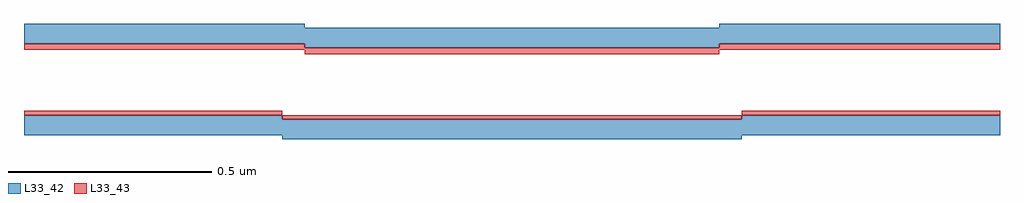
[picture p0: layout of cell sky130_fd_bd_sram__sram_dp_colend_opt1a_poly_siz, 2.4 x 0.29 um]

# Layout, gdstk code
from math import pi, radians
import gdstk
lib = gdstk.Library(unit=1e-6, precision=1e-09)
def R(c, l, rs):  # rectangles x0, y0, x1, y1
    for r in rs: c.add(gdstk.rectangle(r[:2], r[2:], *l))
def P(c, l, *ps):  # polygons
    for p in ps: c.add(gdstk.Polygon(p, *l))
L33_42 = (33, 42)
L33_43 = (33, 43)

sky130_fd_bd_sram__sram_ = lib.new_cell('sky130_fd_bd_sram__sram_dp_cell_half_poly_siz_opta')
P(sky130_fd_bd_sram__sram_, L33_42, [(0,0.01),(0,0.06),(0.635,0.06),(0.635,0.07),(1.2,0.07),(1.2,0.02),(0.635,0.02),(0.635,0.01)])
R(sky130_fd_bd_sram__sram_, L33_43, [(0,0,0.635,0.01), (0.635,0.01,1.2,0.02)])

c_sky130_fd_bd_sram__sram_ = lib.new_cell('sky130_fd_bd_sram__sram_dp_cell_half_poly_siz_optb')
P(c_sky130_fd_bd_sram__sram_, L33_42, [(0,-0.065),(0,-0.015),(0.69,-0.015),(0.69,-0.005),(1.2,-0.005),(1.2,-0.055),(0.69,-0.055),(0.69,-0.065)])
P(c_sky130_fd_bd_sram__sram_, L33_43, [(0,-0.015),(0,0),(0.69,0),(0.69,0.01),(1.2,0.01),(1.2,-0.005),(0.69,-0.005),(0.69,-0.015)])

c_sky130_fd_bd_sram__sram__ = lib.new_cell('sky130_fd_bd_sram__sram_dp_colend_opt1a_poly_siz')
c_sky130_fd_bd_sram__sram__.add(gdstk.Reference(sky130_fd_bd_sram__sram_, (0,0.12), x_reflection=True))
c_sky130_fd_bd_sram__sram__.add(gdstk.Reference(sky130_fd_bd_sram__sram_, (2.4,0.12), rotation=pi))
c_sky130_fd_bd_sram__sram__.add(gdstk.Reference(c_sky130_fd_bd_sram__sram_, (2.4,0.27), rotation=pi))
c_sky130_fd_bd_sram__sram__.add(gdstk.Reference(c_sky130_fd_bd_sram__sram_, (0,0.27), x_reflection=True))

lib.write_gds('sky130_fd_bd_sram__sram_dp_colend_opt1a_poly_siz.gds')
